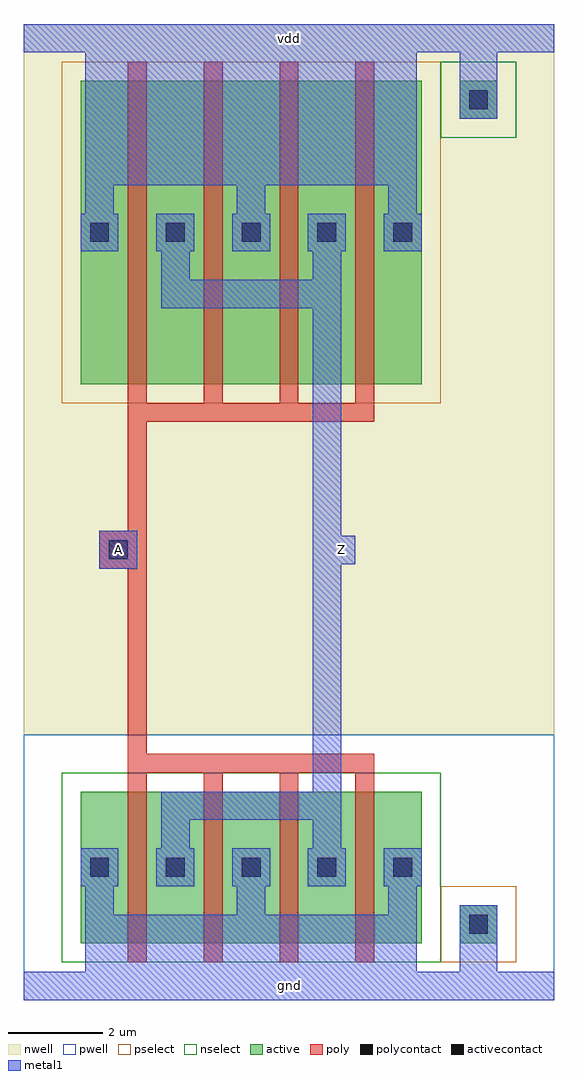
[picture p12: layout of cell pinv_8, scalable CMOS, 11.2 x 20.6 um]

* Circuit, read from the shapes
.subckt pinv_8 A Z gnd vdd
M1 Z A gnd gnd nfet w=3.2u l=0.4u m=4
M2 Z A vdd vdd pfet w=6.4u l=0.4u m=4
.ends

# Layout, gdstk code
import gdstk
lib = gdstk.Library(unit=1e-6, precision=1e-09)
def R(c, l, rs):  # rectangles x0, y0, x1, y1
    for r in rs: c.add(gdstk.rectangle(r[:2], r[2:], *l))
def A(c, l, x, y, w, h, nx, ny, dx, dy):  # array of equal rectangles
    R(c, l, [(x+i*dx, y+j*dy, x+i*dx+w, y+j*dy+h) for i in range(nx) for j in range(ny)])
pwell = (41, 0)
nwell = (42, 0)
active = (43, 0)
pselect = (44, 0)
nselect = (45, 0)
poly = (46, 0)
polycontact = (47, 0)
activecontact = (48, 0)
metal1 = (49, 0)

active_contact_metal1_1x = lib.new_cell('active_contact_metal1_1x1_pn')
R(active_contact_metal1_1x, nwell, [(-1.2,-1.2,2,2)])
R(active_contact_metal1_1x, active, [(0,0,0.8,0.8)])
R(active_contact_metal1_1x, pselect, [(-0.4,-0.4,1.2,1.2)])
R(active_contact_metal1_1x, activecontact, [(0.2,0.2,0.6,0.6)])
R(active_contact_metal1_1x, metal1, [(0,0,0.8,0.8)])

pmos_m4_w6_4_a_p = lib.new_cell('pmos_m4_w6_4_a_p')
R(pmos_m4_w6_4_a_p, nwell, [(-1.2,-1.2,8.4,7.6)])
R(pmos_m4_w6_4_a_p, active, [(0,0,7.2,6.4)])
R(pmos_m4_w6_4_a_p, pselect, [(-0.4,-0.4,7.6,6.8)])
A(pmos_m4_w6_4_a_p, poly, 1, -0.4, 0.4, 7.2, 4, 1, 1.6, 0)
R(pmos_m4_w6_4_a_p, poly, [(1,-0.8,6.2,-0.4)])
A(pmos_m4_w6_4_a_p, metal1, 0.1, 3.2, 0.6, 1.3, 3, 1, 3.2, 0)
R(pmos_m4_w6_4_a_p, metal1, [(1.7,1.6,5.5,2.2), (1.7,1.9,2.3,3.2), (4.9,1.9,5.5,3.2), (0.1,4.2,7.1,4.8)])
pmos_m4_w6_4_a_p.add(gdstk.Reference(active_contact_metal1_1x, (0,2.8)))
pmos_m4_w6_4_a_p.add(gdstk.Reference(active_contact_metal1_1x, (3.2,2.8)))
pmos_m4_w6_4_a_p.add(gdstk.Reference(active_contact_metal1_1x, (6.4,2.8)))
pmos_m4_w6_4_a_p.add(gdstk.Reference(active_contact_metal1_1x, (1.6,2.8)))
pmos_m4_w6_4_a_p.add(gdstk.Reference(active_contact_metal1_1x, (4.8,2.8)))
pmos_m4_w6_4_a_p.add(gdstk.Label('G', (3.6,-0.6), layer=46, texttype=0))
pmos_m4_w6_4_a_p.add(gdstk.Label('S', (3.6,4.5), layer=49, texttype=0))
pmos_m4_w6_4_a_p.add(gdstk.Label('D', (3.6,1.9), layer=49, texttype=0))

c_active_contact_metal1_1x = lib.new_cell('active_contact_metal1_1x1_np')
R(c_active_contact_metal1_1x, pwell, [(-1.2,-1.2,2,2)])
R(c_active_contact_metal1_1x, active, [(0,0,0.8,0.8)])
R(c_active_contact_metal1_1x, nselect, [(-0.4,-0.4,1.2,1.2)])
R(c_active_contact_metal1_1x, activecontact, [(0.2,0.2,0.6,0.6)])
R(c_active_contact_metal1_1x, metal1, [(0,0,0.8,0.8)])

nmos_m4_w3_2_a_p = lib.new_cell('nmos_m4_w3_2_a_p')
R(nmos_m4_w3_2_a_p, pwell, [(-1.2,-1.2,8.4,4.4)])
R(nmos_m4_w3_2_a_p, active, [(0,0,7.2,3.2)])
R(nmos_m4_w3_2_a_p, nselect, [(-0.4,-0.4,7.6,3.6)])
A(nmos_m4_w3_2_a_p, poly, 1, -0.4, 0.4, 4, 4, 1, 1.6, 0)
R(nmos_m4_w3_2_a_p, poly, [(1,3.6,6.2,4)])
A(nmos_m4_w3_2_a_p, metal1, 0.1, 0.3, 0.6, 1.3, 3, 1, 3.2, 0)
R(nmos_m4_w3_2_a_p, metal1, [(0.1,0,7.1,0.6), (1.7,1.6,2.3,2.9), (4.9,1.6,5.5,2.9), (1.7,2.6,5.5,3.2)])
nmos_m4_w3_2_a_p.add(gdstk.Reference(c_active_contact_metal1_1x, (0,1.2)))
nmos_m4_w3_2_a_p.add(gdstk.Reference(c_active_contact_metal1_1x, (3.2,1.2)))
nmos_m4_w3_2_a_p.add(gdstk.Reference(c_active_contact_metal1_1x, (6.4,1.2)))
nmos_m4_w3_2_a_p.add(gdstk.Reference(c_active_contact_metal1_1x, (1.6,1.2)))
nmos_m4_w3_2_a_p.add(gdstk.Reference(c_active_contact_metal1_1x, (4.8,1.2)))
nmos_m4_w3_2_a_p.add(gdstk.Label('G', (3.6,3.8), layer=46, texttype=0))
nmos_m4_w3_2_a_p.add(gdstk.Label('S', (3.6,0.3), layer=49, texttype=0))
nmos_m4_w3_2_a_p.add(gdstk.Label('D', (3.6,2.9), layer=49, texttype=0))

c_active_contact_metal1_1x_ = lib.new_cell('active_contact_metal1_1x1_nn')
R(c_active_contact_metal1_1x_, nwell, [(-1.2,-1.2,2,2)])
R(c_active_contact_metal1_1x_, active, [(0,0,0.8,0.8)])
R(c_active_contact_metal1_1x_, nselect, [(-0.4,-0.4,1.2,1.2)])
R(c_active_contact_metal1_1x_, activecontact, [(0.2,0.2,0.6,0.6)])
R(c_active_contact_metal1_1x_, metal1, [(0,0,0.8,0.8)])

c_active_contact_metal1_1x__ = lib.new_cell('active_contact_metal1_1x1_pp')
R(c_active_contact_metal1_1x__, pwell, [(-1.2,-1.2,2,2)])
R(c_active_contact_metal1_1x__, active, [(0,0,0.8,0.8)])
R(c_active_contact_metal1_1x__, pselect, [(-0.4,-0.4,1.2,1.2)])
R(c_active_contact_metal1_1x__, activecontact, [(0.2,0.2,0.6,0.6)])
R(c_active_contact_metal1_1x__, metal1, [(0,0,0.8,0.8)])

poly_contact_metal1_1x1 = lib.new_cell('poly_contact_metal1_1x1')
R(poly_contact_metal1_1x1, poly, [(0,0,0.8,0.8)])
R(poly_contact_metal1_1x1, polycontact, [(0.2,0.2,0.6,0.6)])
R(poly_contact_metal1_1x1, metal1, [(0,0,0.8,0.8)])

pinv_8 = lib.new_cell('pinv_8')
R(pinv_8, pwell, [(0,-0.3,11.2,5.3)])
R(pinv_8, nwell, [(0,5.3,11.2,20.3)])
R(pinv_8, poly, [(2.2,4.5,2.6,11.9), (2,8.8,2.2,9.6)])
R(pinv_8, metal1, [(0,-0.3,11.2,0.3), (1.3,-0.3,8.3,0.9), (9.2,0,10,1.3), (6.1,3.5,6.7,14.3), (1.6,8.8,2.4,9.6), (6.4,8.9,7,9.5), (1.3,16.9,8.3,20.3), (9.2,18.7,10,20), (0,19.7,11.2,20.3)])
pinv_8.add(gdstk.Reference(pmos_m4_w6_4_a_p, (1.2,12.7)))
pinv_8.add(gdstk.Reference(nmos_m4_w3_2_a_p, (1.2,0.9)))
pinv_8.add(gdstk.Reference(c_active_contact_metal1_1x_, (9.2,18.3)))
pinv_8.add(gdstk.Reference(c_active_contact_metal1_1x__, (9.2,0.9)))
pinv_8.add(gdstk.Reference(poly_contact_metal1_1x1, (1.6,8.8)))
pinv_8.add(gdstk.Label('gnd', (5.6,0), layer=49, texttype=0))
pinv_8.add(gdstk.Label('vdd', (5.6,20), layer=49, texttype=0))
pinv_8.add(gdstk.Label('A', (2,9.2), layer=49, texttype=0))
pinv_8.add(gdstk.Label('Z', (6.7,9.2), layer=49, texttype=0))

lib.write_gds('pinv_8.gds')
